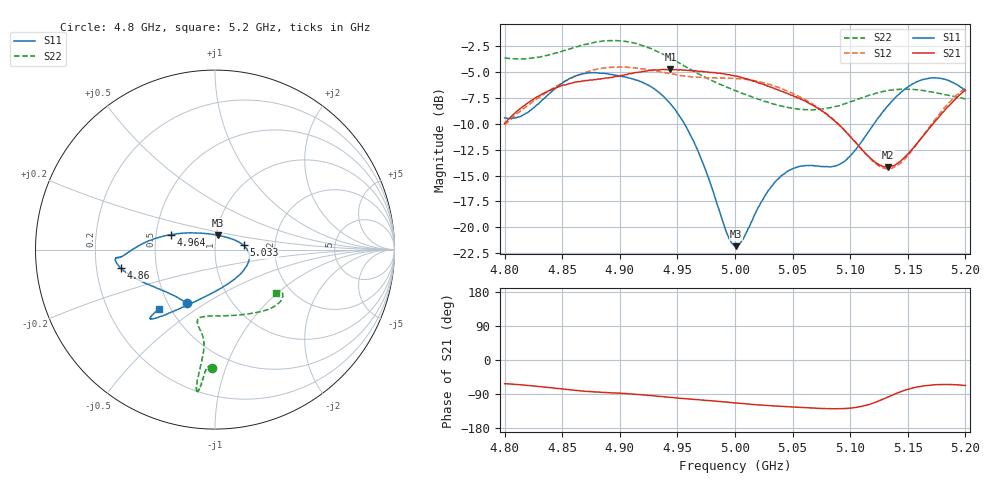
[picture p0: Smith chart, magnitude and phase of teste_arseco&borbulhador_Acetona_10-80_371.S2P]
! Network Analyzer HP8722D
! Hewlett-Packard
! Data name: Linha & Wilkinson
! Saver's name: Rodrigo Anjos
! Comments: Teste da utilização de aquisição
! continua pelo VNA HP8722D
! Time and date: 17/4/2025 17:27
!  Frequency  S11  S21  S12  S22
# HZ  S  MA R 50
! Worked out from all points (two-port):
!   401 points, 4.8 GHz to 5.2 GHz, reference 50 ohm
!   highest |S21| = -4.73 dB at 4.944 GHz (marker M1); lowest = -14.2 dB at 5.133 GHz (marker M2)
!   |S21| within 3 dB of the highest: 4.823 GHz to 5.059 GHz (235.9 MHz wide, 4.77 % of centre); 5.190333 GHz to end of sweep
!   lowest |S11| = -21.8 dB at 5.001 GHz (marker M3), VSWR 1.18, Z = 50.9 + j8.16 ohm
!   |S11| at or under -10 dB: 4.956 GHz to 5.121 GHz (164.7 MHz wide, 3.27 % of centre)
!   |S22| runs from -8.7 to -1.9 dB; largest |S21 - S12| = 0.87
!   S11 on the Smith chart (normalised r, x): 4.8 GHz: 0.62, -0.42; 4.86 GHz: 0.31, -0.09; 4.964 GHz: 0.60, +0.11; 5.033 GHz: 1.38, +0.07; 5.2 GHz: 0.43, -0.36
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4.8e9  0.3379 -117.4  0.3179 -62.5  0.312 -176.7  0.6575 -91.6
4.819e9  0.3567 -137.6  0.3952 -66.8  0.3834 -176.4  0.6528 -93.2
4.86e9  0.5354 -168.9  0.5002 -79.5  0.5323 -179.9  0.7375 -95.5
4.867e9  0.5499 -171.5  0.509 -81.7  0.5524 178.8  0.7572 -95.8
4.899e9  0.5394 -175.5  0.5369 -87.8  0.5946 172.7  0.7963 -97.3
4.934e9  0.4485 179.0  0.5761 -95.9  0.5668 169.8  0.7003 -97.4
4.944e9  0.3951 174.5  0.5799 -98.7  0.5513 170.0  0.6569 -97.1
4.964e9  0.2608 161.4  0.5704 -103.8  0.5322 171.9  0.5682 -96.4
4.993e9  0.09329 110.8  0.5471 -111.1  0.5259 174.0  0.4751 -99.0
5e9  0.08164 83.2  0.5376 -113.2  0.5248 174.1  0.4576 -100.3
5.001e9  0.0811 78.8  0.5376 -113.4  0.5223 174.0  0.4563 -100.5
5.006e9  0.08622 59.1  0.5284 -114.8  0.5199 173.9  0.445 -101.5
5.033e9  0.1609 8.6  0.4714 -121.0  0.4843 172.6  0.394 -103.4
5.048e9  0.1896 -5.4  0.4381 -123.6  0.4486 172.2  0.3784 -98.9
5.067e9  0.199 -25.8  0.3905 -126.6  0.3962 172.0  0.3688 -88.2
5.095e9  0.2082 -74.1  0.2937 -128.1  0.2947 174.7  0.3941 -66.5
5.119e9  0.3069 -110.3  0.2123 -114.7  0.2099 -169.9  0.4386 -50.6
5.133e9  0.3879 -121.3  0.1958 -97.4  0.1919 -150.7  0.458 -43.8
5.134e9  0.3936 -122.0  0.1959 -96.2  0.192 -149.2  0.4593 -43.4
5.146e9  0.4581 -127.5  0.2146 -81.3  0.2099 -132.1  0.4651 -38.9
5.168e9  0.5242 -132.5  0.2979 -66.9  0.3015 -113.2  0.4526 -33.5
5.2e9  0.4564 -133.5  0.4603 -67.2  0.4716 -109.3  0.4174 -35.1
